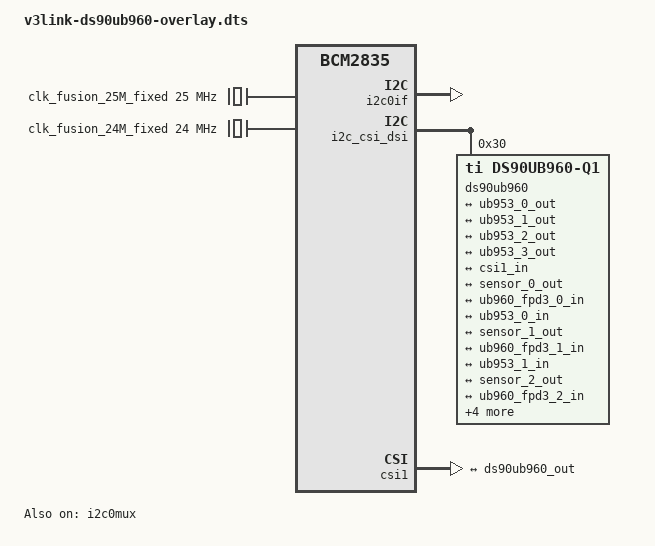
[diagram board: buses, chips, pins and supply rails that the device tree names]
// SPDX-License-Identifier: GPL-2.0-only OR BSD-2-Clause
/dts-v1/;
/plugin/;

/ {
	compatible = "brcm,bcm2835";

	fragment@0 {
		target = <&i2c0if>;

		__overlay__ {
			status = "okay";
		};
	};

	fragment@1 {
		target = <&i2c0mux>;
		__overlay__ {
			status = "okay";
		};
	};

	fragment@2 {
		target = <&i2c_csi_dsi>;
		__overlay__ {
			status = "okay";

			ds90ub960: ds90ub960@30 {
				status = "okay";
				compatible = "ti,ds90ub960-q1";
				reg = <0x30>;
				clocks = <&clk_fusion_25M_fixed>;
				clock-names = "refclk";
				i2c-alias-pool = <0x48 0x49 0x4a 0x4b>;

				ports {
					#address-cells = <1>;
					#size-cells = <0>;

					port@0 {
						reg = <0>;

						ub960_fpd3_0_in: endpoint {
							remote-endpoint = <&ub953_0_out>;
						};
					};

					port@1 {
						reg = <1>;

						ub960_fpd3_1_in: endpoint {
							remote-endpoint = <&ub953_1_out>;
						};
					};

					port@2 {
						reg = <2>;

						ub960_fpd3_2_in: endpoint {
							remote-endpoint = <&ub953_2_out>;
						};
					};

					port@3 {
						reg = <3>;

						ub960_fpd3_3_in: endpoint {
							remote-endpoint = <&ub953_3_out>;
						};
					};

					port@4 {
						reg = <4>;

						ds90ub960_out: endpoint {
							remote-endpoint = <&csi1_in>;
							data-lanes = <1 2>;
							link-frequencies = /bits/ 64 <400000000>;
						};
					};
				};

				links {
					#address-cells = <1>;
					#size-cells = <0>;

					/* Link 0 has DS90UB953 serializer and IMX219 sensor */
					link@0 {
						reg = <0>;
						i2c-alias = <0x44>;

						ti,rx-mode = <3>;
						ti,bc-gpio = <0>;

						serializer0: serializer {
							compatible = "ti,ds90ub953-q1";

							gpio-controller;
							#gpio-cells = <2>;
							#clock-cells = <0>;

							ports {
								#address-cells = <1>;
								#size-cells = <0>;

								port@0 {
									reg = <0>;

									ub953_0_in: endpoint {
										data-lanes = <1 2>;
										remote-endpoint = <&sensor_0_out>;
									};
								};

								port@1 {
									reg = <1>;

									ub953_0_out: endpoint {
										remote-endpoint = <&ub960_fpd3_0_in>;
									};
								};
							};

							i2c {
								#address-cells = <1>;
								#size-cells = <0>;

								sensor@10 {
									compatible = "sony,imx219";
									reg = <0x10>;
									clocks = <&clk_fusion_24M_fixed>;
									clock-names = "xclk";

									port {
										sensor_0_out: endpoint {
											remote-endpoint = <&ub953_0_in>;
											data-lanes = <1 2>;
											link-frequencies = /bits/ 64 <456000000>;
										};
									};
								};
							};
						};
					};

					/* Link 1 has DS90UB953 serializer and IMX219 sensor */
					link@1 {
						reg = <1>;
						i2c-alias = <0x45>;

						ti,rx-mode = <3>;
						ti,bc-gpio = <0>;

						serializer1: serializer {
							compatible = "ti,ds90ub953-q1";

							gpio-controller;
							#gpio-cells = <2>;
							#clock-cells = <0>;

							ports {
								#address-cells = <1>;
								#size-cells = <0>;

								port@0 {
									reg = <0>;

									ub953_1_in: endpoint {
										data-lanes = <1 2>;
										remote-endpoint = <&sensor_1_out>;
									};
								};

								port@1 {
									reg = <1>;

									ub953_1_out: endpoint {
										remote-endpoint = <&ub960_fpd3_1_in>;
									};
								};
							};

							i2c {
								#address-cells = <1>;
								#size-cells = <0>;

								sensor@10 {
									compatible = "sony,imx219";
									reg = <0x10>;
									clocks = <&clk_fusion_24M_fixed>;
									clock-names = "xclk";

									port {
										sensor_1_out: endpoint {
											remote-endpoint = <&ub953_1_in>;
											data-lanes = <1 2>;
											link-frequencies = /bits/ 64 <456000000>;
										};
									};
								};
							};
						};
					};

					/* Link 2 has DS90UB953 serializer and IMX219 sensor */
					link@2 {
						reg = <2>;
						i2c-alias = <0x46>;

						ti,rx-mode = <3>;
						ti,bc-gpio = <0>;

						serializer2: serializer {
							compatible = "ti,ds90ub953-q1";

							gpio-controller;
							#gpio-cells = <2>;
							#clock-cells = <0>;

							ports {
								#address-cells = <1>;
								#size-cells = <0>;

								port@0 {
									reg = <0>;

									ub953_2_in: endpoint {
										data-lanes = <1 2>;
										remote-endpoint = <&sensor_2_out>;
									};
								};

								port@1 {
									reg = <1>;

									ub953_2_out: endpoint {
										remote-endpoint = <&ub960_fpd3_2_in>;
									};
								};
							};

							i2c {
								#address-cells = <1>;
								#size-cells = <0>;

								sensor@10 {
									compatible = "sony,imx219";
									reg = <0x10>;
									clocks = <&clk_fusion_24M_fixed>;
									clock-names = "xclk";

									port {
										sensor_2_out: endpoint {
											remote-endpoint = <&ub953_2_in>;
											data-lanes = <1 2>;
											link-frequencies = /bits/ 64 <456000000>;
										};
									};
								};
							};
						};
					};

					/* Link 3 has DS90UB953 serializer and IMX219 sensor */
					link@3 {
						reg = <3>;
						i2c-alias = <0x47>;

						ti,rx-mode = <3>;
						ti,bc-gpio = <0>;

						serializer3: serializer {
							compatible = "ti,ds90ub953-q1";

							gpio-controller;
							#gpio-cells = <2>;
							#clock-cells = <0>;

							ports {
								#address-cells = <1>;
								#size-cells = <0>;

								port@0 {
									reg = <0>;

									ub953_3_in: endpoint {
										data-lanes = <1 2>;
										remote-endpoint = <&sensor_3_out>;
									};
								};

								port@1 {
									reg = <1>;

									ub953_3_out: endpoint {
										remote-endpoint = <&ub960_fpd3_3_in>;
									};
								};
							};

							i2c {
								#address-cells = <1>;
								#size-cells = <0>;

								sensor@10 {
									compatible = "sony,imx219";
									reg = <0x10>;
									clocks = <&clk_fusion_24M_fixed>;
									clock-names = "xclk";

									port {
										sensor_3_out: endpoint {
											remote-endpoint = <&ub953_3_in>;
											data-lanes = <1 2>;
											link-frequencies = /bits/ 64 <456000000>;
										};
									};
								};
							};
						};
					};
				};
			};
		};
	};

	// create clock for DS90UB960 deserializer
	fragment@3 {
		target-path = "/";

		__overlay__ {
			clk_fusion_25M_fixed: fixed-clock-25m {
				compatible = "fixed-clock";
				#clock-cells = <0>;
				clock-frequency = <25000000>;
			};

			clk_fusion_24M_fixed: fixed-clock-24m {
				compatible = "fixed-clock";
				#clock-cells = <0>;
				clock-frequency = <24000000>;
			};
		};
	};

	// enable CSI-1 and connect to DS90UB960
	fragment@4 {
		target = <&csi1>;

		__overlay__ {
			status = "okay";

			port {
				csi1_in: endpoint {
					remote-endpoint = <&ds90ub960_out>;
					data-lanes = <1 2>;
				};
			};
		};
	};
};
